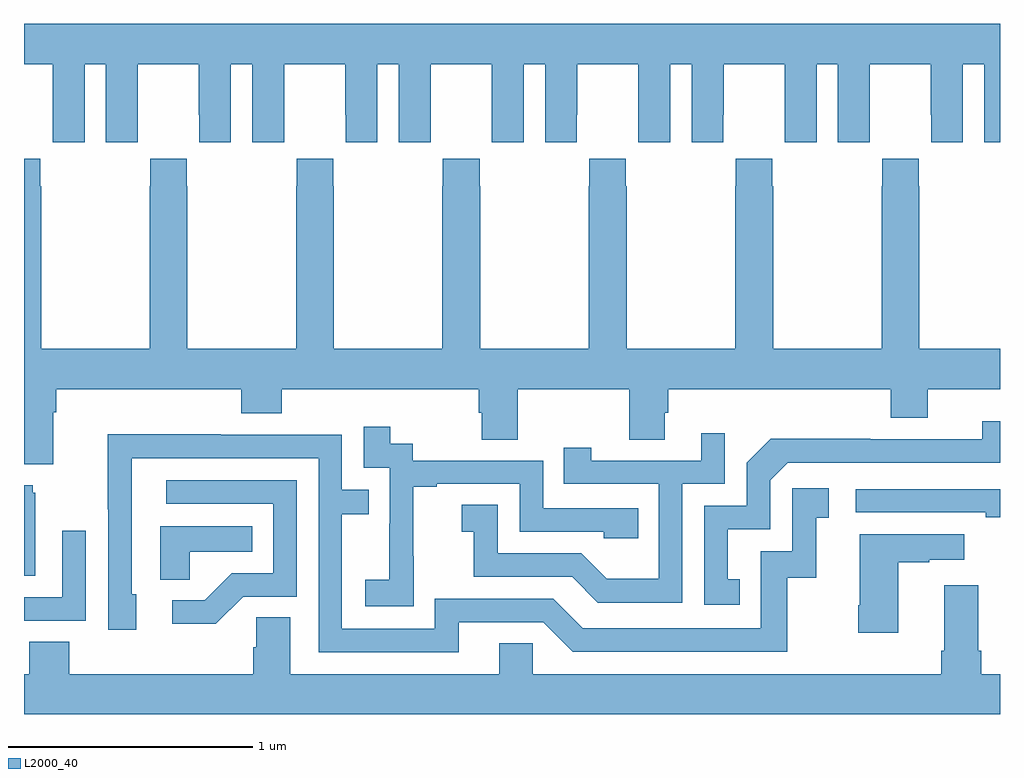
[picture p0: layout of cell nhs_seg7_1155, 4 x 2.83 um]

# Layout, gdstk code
import gdstk
lib = gdstk.Library(unit=1e-6, precision=1e-09)
def P(c, l, *ps):  # polygons
    for p in ps: c.add(gdstk.Polygon(p, *l))
L2000_40 = (2000, 40)

nhs_seg7_1155 = lib.new_cell('nhs_seg7_1155')
P(nhs_seg7_1155, L2000_40, [(191.248,1067.216),(191.336,1067.216),(191.336,1066.896),(191.466,1066.896),(191.466,1067.008),(191.467,1067.008),(191.467,1067.216),(191.717,1067.216),(191.717,1067.008),(191.718,1067.008),(191.718,1066.896),(191.848,1066.896),(191.848,1067.216),(191.936,1067.216),(191.936,1066.896),(192.066,1066.896),(192.066,1067.008),(192.067,1067.008),(192.067,1067.216),(192.317,1067.216),(192.317,1067.008),(192.318,1067.008),(192.318,1066.896),(192.448,1066.896),(192.448,1067.216),(192.536,1067.216),(192.536,1066.896),(192.666,1066.896),(192.666,1067.008),(192.667,1067.008),(192.667,1067.216),(192.917,1067.216),(192.917,1067.008),(192.918,1067.008),(192.918,1066.896),(193.048,1066.896),(193.048,1067.216),(193.136,1067.216),(193.136,1066.896),(193.266,1066.896),(193.266,1067.008),(193.267,1067.008),(193.267,1067.216),(193.517,1067.216),(193.517,1067.008),(193.518,1067.008),(193.518,1066.896),(193.648,1066.896),(193.648,1067.216),(193.736,1067.216),(193.736,1066.896),(193.866,1066.896),(193.866,1067.008),(193.867,1067.008),(193.867,1067.216),(194.117,1067.216),(194.117,1067.008),(194.118,1067.008),(194.118,1066.896),(194.248,1066.896),(194.248,1067.216),(194.336,1067.216),(194.336,1066.896),(194.466,1066.896),(194.466,1067.008),(194.467,1067.008),(194.467,1067.216),(194.717,1067.216),(194.717,1067.008),(194.718,1067.008),(194.718,1066.896),(194.848,1066.896),(194.848,1067.216),(194.936,1067.216),(194.936,1066.896),(195,1066.896),(195,1067.38),(191,1067.38),(191,1067.216),(191.117,1067.216),(191.117,1067.008),(191.118,1067.008),(191.118,1066.896),(191.248,1066.896)],
  [(191.119,1065.788),(191.132,1065.788),(191.132,1065.884),(191.891,1065.884),(191.891,1065.785),(192.056,1065.785),(192.056,1065.884),(192.863,1065.884),(192.863,1065.786),(192.875,1065.786),(192.875,1065.676),(193.023,1065.676),(193.023,1065.884),(193.48,1065.884),(193.48,1065.676),(193.627,1065.676),(193.627,1065.786),(193.64,1065.786),(193.64,1065.884),(194.552,1065.884),(194.552,1065.767),(194.704,1065.767),(194.704,1065.884),(195,1065.884),(195,1066.048),(194.67,1066.048),(194.67,1066.715),(194.667,1066.715),(194.667,1066.828),(194.517,1066.828),(194.517,1066.715),(194.515,1066.715),(194.515,1066.048),(194.07,1066.048),(194.07,1066.715),(194.067,1066.715),(194.067,1066.828),(193.917,1066.828),(193.917,1066.715),(193.915,1066.715),(193.915,1066.048),(193.47,1066.048),(193.47,1066.715),(193.467,1066.715),(193.467,1066.828),(193.317,1066.828),(193.317,1066.715),(193.315,1066.715),(193.315,1066.048),(192.87,1066.048),(192.87,1066.715),(192.867,1066.715),(192.867,1066.828),(192.717,1066.828),(192.717,1066.715),(192.715,1066.715),(192.715,1066.048),(192.27,1066.048),(192.27,1066.715),(192.267,1066.715),(192.267,1066.828),(192.117,1066.828),(192.117,1066.715),(192.115,1066.715),(192.115,1066.048),(191.67,1066.048),(191.67,1066.715),(191.667,1066.715),(191.667,1066.828),(191.517,1066.828),(191.517,1066.715),(191.515,1066.715),(191.515,1066.048),(191.07,1066.048),(191.07,1066.715),(191.067,1066.715),(191.067,1066.828),(191,1066.828),(191,1065.575),(191.119,1065.575)],
  [(193.934,1065.105),(193.885,1065.105),(193.885,1065.309),(194.058,1065.309),(194.058,1065.51),(194.13,1065.582),(195,1065.582),(195,1065.751),(194.928,1065.751),(194.928,1065.678),(194.468,1065.678),(194.468,1065.68),(194.06,1065.68),(193.962,1065.582),(193.962,1065.405),(193.788,1065.405),(193.788,1065),(193.934,1065)],
  [(192.597,1065.199),(192.596,1065.199),(192.596,1065.483),(192.691,1065.483),(192.691,1065.495),(193.032,1065.495),(193.032,1065.3),(193.377,1065.3),(193.377,1065.273),(193.517,1065.273),(193.517,1065.396),(193.128,1065.396),(193.128,1065.591),(192.594,1065.591),(192.594,1065.66),(192.502,1065.66),(192.502,1065.73),(192.393,1065.73),(192.393,1065.561),(192.498,1065.561),(192.498,1065.332),(192.497,1065.332),(192.497,1065.103),(192.399,1065.103),(192.399,1064.993),(192.597,1064.993)],
  [(193.698,1065.495),(193.872,1065.495),(193.872,1065.703),(193.775,1065.703),(193.775,1065.591),(193.324,1065.591),(193.324,1065.643),(193.213,1065.643),(193.213,1065.495),(193.602,1065.495),(193.602,1065.106),(193.388,1065.106),(193.284,1065.21),(192.942,1065.21),(192.942,1065.409),(192.795,1065.409),(192.795,1065.299),(192.844,1065.299),(192.844,1065.114),(193.247,1065.114),(193.352,1065.009),(193.698,1065.009)],
  [(192.781,1064.928),(193.128,1064.928),(193.248,1064.808),(194.128,1064.808),(194.128,1065.111),(194.246,1065.111),(194.246,1065.357),(194.299,1065.357),(194.299,1065.478),(194.148,1065.478),(194.148,1065.219),(194.019,1065.219),(194.019,1064.904),(193.29,1064.904),(193.17,1065.024),(192.684,1065.024),(192.684,1064.901),(192.303,1064.901),(192.303,1065.37),(192.413,1065.37),(192.413,1065.471),(192.303,1065.471),(192.303,1065.696),(191.807,1065.696),(191.807,1065.698),(191.344,1065.698),(191.344,1065.391),(191.346,1065.391),(191.346,1064.898),(191.461,1064.898),(191.461,1065.042),(191.442,1065.042),(191.442,1065.6),(192.207,1065.6),(192.207,1064.805),(192.781,1064.805)],
  [(191.898,1065.033),(192.117,1065.033),(192.117,1065.51),(191.583,1065.51),(191.583,1065.414),(192.021,1065.414),(192.021,1065.129),(191.852,1065.129),(191.741,1065.018),(191.607,1065.018),(191.607,1064.921),(191.785,1064.921)],
  [(191.047,1065.459),(191.036,1065.459),(191.036,1065.49),(191,1065.49),(191,1065.119),(191.047,1065.119)],
  [(195,1065.474),(194.409,1065.474),(194.409,1065.378),(194.941,1065.378),(194.941,1065.358),(195,1065.358)],
  [(191.679,1065.218),(191.936,1065.218),(191.936,1065.322),(191.558,1065.322),(191.558,1065.103),(191.679,1065.103)],
  [(191.253,1065.304),(191.157,1065.304),(191.157,1065.03),(191,1065.03),(191,1064.934),(191.253,1064.934)],
  [(194.584,1065.175),(194.711,1065.175),(194.711,1065.185),(194.854,1065.185),(194.854,1065.289),(194.426,1065.289),(194.426,1064.998),(194.419,1064.998),(194.419,1064.886),(194.584,1064.886)],
  [(195,1064.716),(194.924,1064.716),(194.924,1064.812),(194.911,1064.812),(194.911,1065.079),(194.771,1065.079),(194.771,1064.812),(194.759,1064.812),(194.759,1064.716),(193.086,1064.716),(193.086,1064.843),(192.947,1064.843),(192.947,1064.716),(192.091,1064.716),(192.091,1064.948),(191.952,1064.948),(191.952,1064.825),(191.939,1064.825),(191.939,1064.716),(191.186,1064.716),(191.186,1064.849),(191.021,1064.849),(191.021,1064.716),(191,1064.716),(191,1064.552),(195,1064.552)])

lib.write_gds('nhs_seg7_1155.gds')
